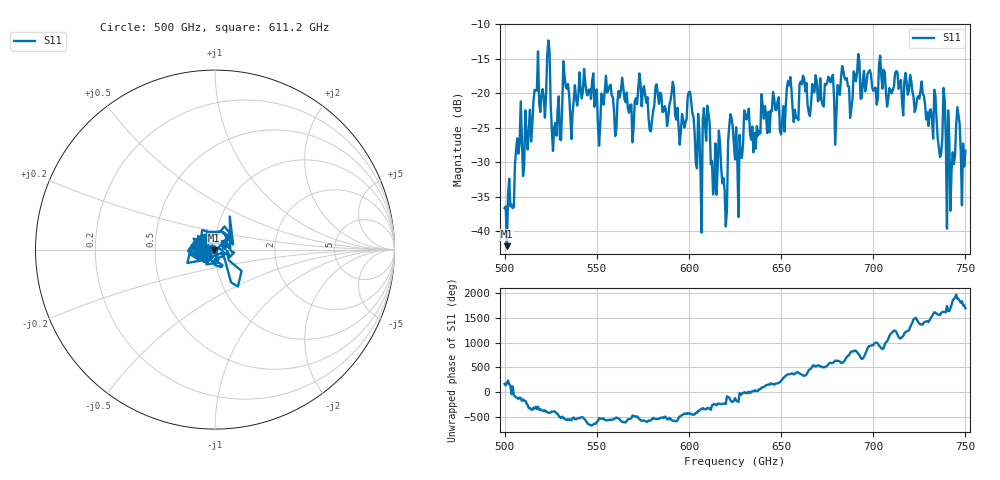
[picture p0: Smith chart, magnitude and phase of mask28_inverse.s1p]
!Created with skrf (http://scikit-rf.org).
# GHz S MA R 50.0
!freq magS11 angS11
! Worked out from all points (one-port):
!   401 points, 500 GHz to 750 GHz, reference 50 ohm
!   lowest |S11| = -42.2 dB at 501.2 GHz (marker M1), VSWR 1.02, Z = 49.2 - j0.172 ohm
!   |S11| at or under -10 dB: start of sweep to end of sweep
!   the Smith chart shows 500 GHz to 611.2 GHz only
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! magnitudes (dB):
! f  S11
! 500 GHz  -36.7
! 501.2 GHz  -42.2
! 516.9 GHz  -19.6
! 520.6 GHz  -19.4
! 523.8 GHz  -12.3
! 526.9 GHz  -25.0
! 531.2 GHz  -21.9
! 562.5 GHz  -20.6
! 579.4 GHz  -25.5
! 590.6 GHz  -20.0
! 593.8 GHz  -22.1
! 600.6 GHz  -19.8
! 605.6 GHz  -25.4
! 609.4 GHz  -26.9
! 619.4 GHz  -34.1
! 622.5 GHz  -23.0
! 625 GHz  -29.6
! 656.2 GHz  -22.2
! 680.6 GHz  -18.8
! 684.4 GHz  -17.7
! 687.5 GHz  -23.6
! 691.2 GHz  -16.9
! 718.8 GHz  -20.2
! 736.2 GHz  -29.3
! 738.1 GHz  -19.2
! 741.2 GHz  -26.6
! 745.6 GHz  -22.0
! 750 GHz  -28.4
